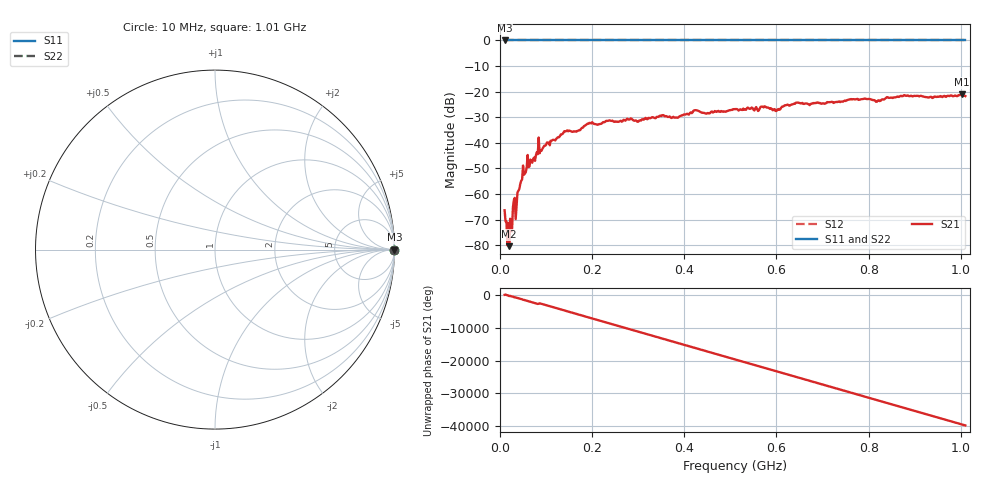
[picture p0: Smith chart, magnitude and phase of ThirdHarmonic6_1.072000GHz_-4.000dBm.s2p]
! 8/16/2025 9:44:00 AM
! C:\ANRITSUVNA\TEMP\TEMP.S2P
! CHANNEL.1
! TR.MEASUREMENT
! RAW.DATA
! RF.CORRECTION.OFF
! AVERAGING.OFF
! IF.BANDWIDTH: 5KHZ
! SWEEPTYPE:  FREQ.SWEEP(Linear)
! Reference Plane Port Info
! PORT:  PORT1  PORT2
! DISTANCE:  0  m  0  m
! TIME:  0  s  0  s
! PHASE.OFFSET:  0  deg.  0  deg.
! LOSS:  0  dB  0  dB
! REF.LOSS:  0  dB  0  dB
! REF.FREQ:  0  Hz  0  Hz
! Power Info
! POWER:  -20  dBm  -20  dBm
! EFF.POWER:  -20  dBm  -20  dBm
! SOURCE.ATTEN:  0  dB  0  dB
! TEST.ATTEN:  0  dB  0  dB
# GHZ S RI R 50.0
! FREQ.GHZ  S11RE  S11IM  S21RE  S21IM  S12RE  S12IM  S22RE  S22IM
!; PortSelection: Port_12
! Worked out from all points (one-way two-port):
!   501 points, 10 MHz to 1.01 GHz, reference 50 ohm
!   highest |S21| = -21.07 dB at 1.002 GHz (marker M1); lowest = -80.3 dB at 20 MHz (marker M2)
!   lowest |S11| = 0.0 dB at 10 MHz (marker M3)
!   |S11| at or under -10 dB: nowhere
!   |S22| runs from 0.0 to 0.0 dB; largest |S21 - S12| = 1.1
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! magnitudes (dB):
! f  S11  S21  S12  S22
! 10 MHz  0.0  -66.3  0.0  0.0
! 16 MHz  0.0  -80.0  0.0  0.0
! 20 MHz  0.0  -80.3  0.0  0.0
! 24 MHz  0.0  -71.2  0.0  0.0
! 28 MHz  0.0  -65.3  0.0  0.0
! 38 MHz  0.0  -59.3  0.0  0.0
! 46 MHz  0.0  -54.8  0.0  0.0
! 62 MHz  0.0  -49.5  0.0  0.0
! 72 MHz  0.0  -46.3  0.0  0.0
! 84 MHz  0.0  -37.9  0.0  0.0
! 142 MHz  0.0  -35.5  0.0  0.0
! 178 MHz  0.0  -34.1  0.0  0.0
! 196 MHz  0.0  -32.3  0.0  0.0
! 344 MHz  0.0  -29.8  0.0  0.0
! 510 MHz  0.0  -26.9  0.0  0.0
! 572 MHz  0.0  -26.2  0.0  0.0
! 602 MHz  0.0  -27.0  0.0  0.0
! 646 MHz  0.0  -24.3  0.0  0.0
! 678 MHz  0.0  -24.6  0.0  0.0
! 844 MHz  0.0  -22.4  0.0  0.0
! 1.002 GHz  0.0  -21.1  0.0  0.0
! 1.01 GHz  0.0  -21.7  0.0  0.0
